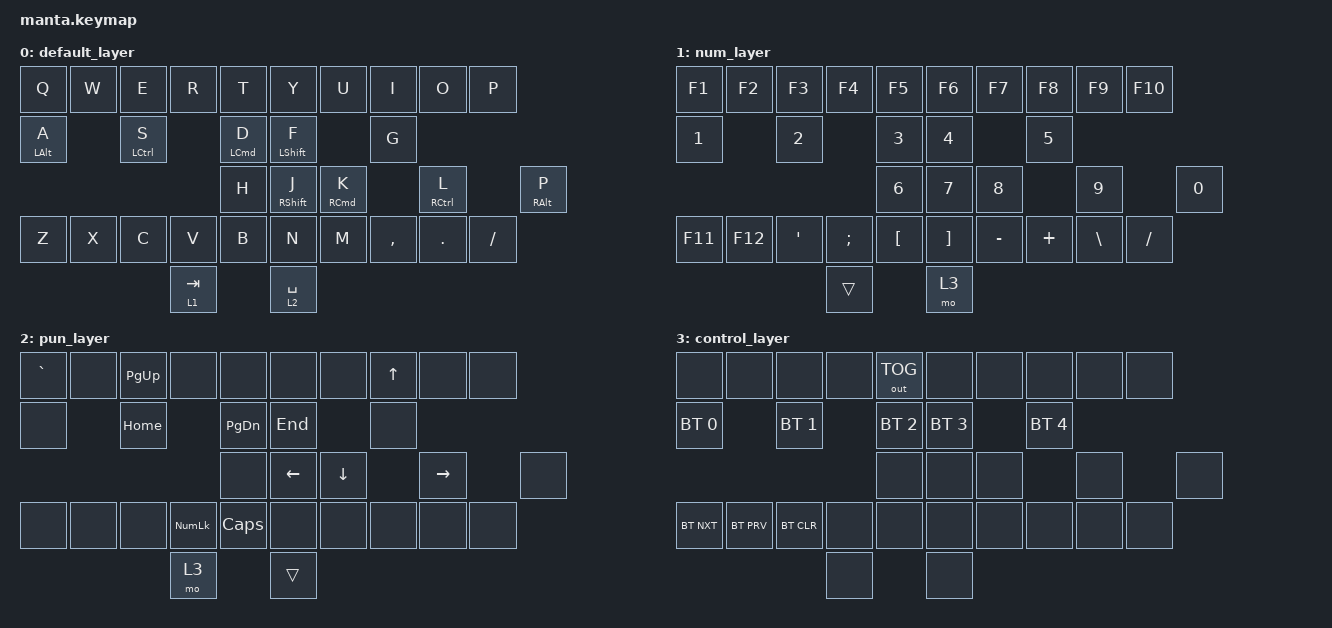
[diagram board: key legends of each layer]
#include <behaviors.dtsi>
#include <dt-bindings/zmk/keys.h>
#include <dt-bindings/zmk/outputs.h>
#include <dt-bindings/zmk/bt.h>

// My weird keymap

&caps_word {
    continue-list = <UNDERSCORE MINUS>;
};

/ {
    combos {
        compatible = "zmk,combos";
        combo_esc {
            timeout-ms = <50>;
            key-positions = <0 1>;
            bindings = <&kp ESC>;
        };
        combo_backspace {
            timeout-ms = <50>;
            key-positions = <8 9>;
            bindings = <&kp BSPC>;
        };
        combo_enter {
            timeout-ms = <50>;
            key-positions = <18 19>;
            bindings = <&kp RET>;
        };
        combo_delete {
            timeout-ms = <50>;
            key-positions = <28 29>;
            bindings = <&kp DEL>;
        };
    };
    
    behaviors {
        // See https://zmk.dev/docs/behaviors/hold-tap
        hm: homerow_mods {
            compatible = "zmk,behavior-hold-tap";
            label = "HOMEROW_MODS";
            #binding-cells = <2>;
            tapping-term-ms = <150>;
            quick-tap-ms = <0>;
            flavor = "tap-preferred";
            bindings = <&kp>, <&kp>;
        };
    };

    keymap {
        compatible = "zmk,keymap";

        default_layer {
            bindings = <
                &kp Q &kp W &kp E &kp R &kp T     &kp Y &kp U &kp I &kp O &kp P
                &hm LALT A &hm LCTRL S &hm LCMD D &hm LSHIFT F &kp G
                                        &kp H &hm RSHIFT J &hm RCMD K &hm RCTRL L &hm RALT P
                &kp Z &kp X &kp C &kp V &kp B     &kp N &kp M &kp COMMA &kp DOT &kp SLASH
                                    &lt 1 TAB &lt 2 SPACE
            >;
        };

        num_layer {
            bindings = <
                &kp F1 &kp F2 &kp F3 &kp F4 &kp F5    &kp F6 &kp F7 &kp F8 &kp F9 &kp F10
                &kp N1 &kp N2 &kp N3 &kp N4 &kp N5    &kp N6 &kp N7 &kp N8 &kp N9 &kp N0
                &kp F11 &kp F12 &kp APOS &kp SEMI &kp LBKT
                                                              &kp RBKT &kp MINUS &kp PLUS &kp BSLH &kp FSLH
                                                     &trans  &mo 3
            >;
        };

        pun_layer {
            bindings = <
                &kp GRAVE &none &kp PG_UP &none &none
                                              &none &none &kp UP &none &none
                &none &kp HOME &kp PG_DN &kp END &none
                                        &none &kp LEFT &kp DOWN &kp RIGHT &none
                &none &none &none &kp KP_NUM &kp CAPS
                                        &none &none &none &none &none
                                        &mo 3  &trans
            >;
        };
        
        control_layer {
            bindings = <
                &none &none &none &none &out OUT_TOG                    &none &none &none &none &none
                &bt BT_SEL 0 &bt BT_SEL 1 &bt BT_SEL 2 &bt BT_SEL 3 &bt BT_SEL 4
                                                                        &none &none &none &none &none
                &bt BT_NXT &bt BT_PRV &bt BT_CLR &none &none     &none &none &none &none &none
                                                                &none &none
            >;
        };
    };
};
